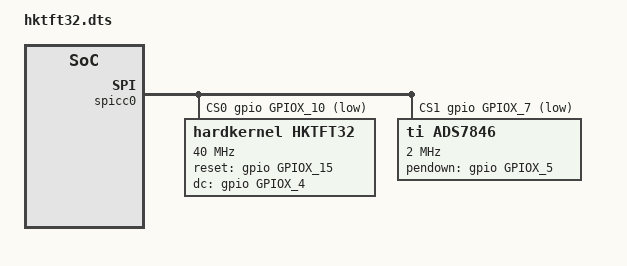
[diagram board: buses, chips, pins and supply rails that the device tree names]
/dts-v1/;
/plugin/;

#include <dt-bindings/gpio/meson-s7d-gpio.h>
#include <dt-bindings/gpio/gpio.h>
#include <dt-bindings/interrupt-controller/irq.h>

/ {
	fragment@0 {
		target = <&spicc0>;

		__overlay__ {
			status = "okay";

			#address-cells = <1>;
			#size-cells = <0>;
			num_chipselect = <2>;
			cs-gpios = <&gpio GPIOX_10 GPIO_ACTIVE_LOW>,
					   <&gpio GPIOX_7 GPIO_ACTIVE_LOW>;
			pinctrl-names = "default";

			hktft32: hktft32@0 {
				status = "okay";
				compatible = "hardkernel,hktft32";
				reg = <0>;
				spi-max-frequency = <40000000>;
				rotation = <90>;
				reset-gpios = <&gpio GPIOX_15 GPIO_ACTIVE_HIGH>;
				dc-gpios = <&gpio GPIOX_4 GPIO_ACTIVE_HIGH>;
			};
			ads7846: ads7846@1 {
				status = "okay";
				compatible = "ti,ads7846";
				reg = <1>;
				spi-max-frequency = <2000000>;
				interrupt-parent = <&gpio_intc>;
				interrupts = <46 IRQ_TYPE_EDGE_FALLING>;  /* GPIOX_5 */
				pendown-gpio = <&gpio GPIOX_5 GPIO_ACTIVE_HIGH>;
				ti,swap-xy = <1>;
				ti,x-min = /bits/ 16 <0>;
				ti,x-max = /bits/ 16 <8000>;
				ti,y-min = /bits/ 16 <0>;
				ti,y-max = /bits/ 16 <4800>;
				ti,x-plate-ohms = /bits/ 16 <40>;
				ti,pressure-max = /bits/ 16 <255>;
				linux,wakeup;
			};
		};
	};
};
